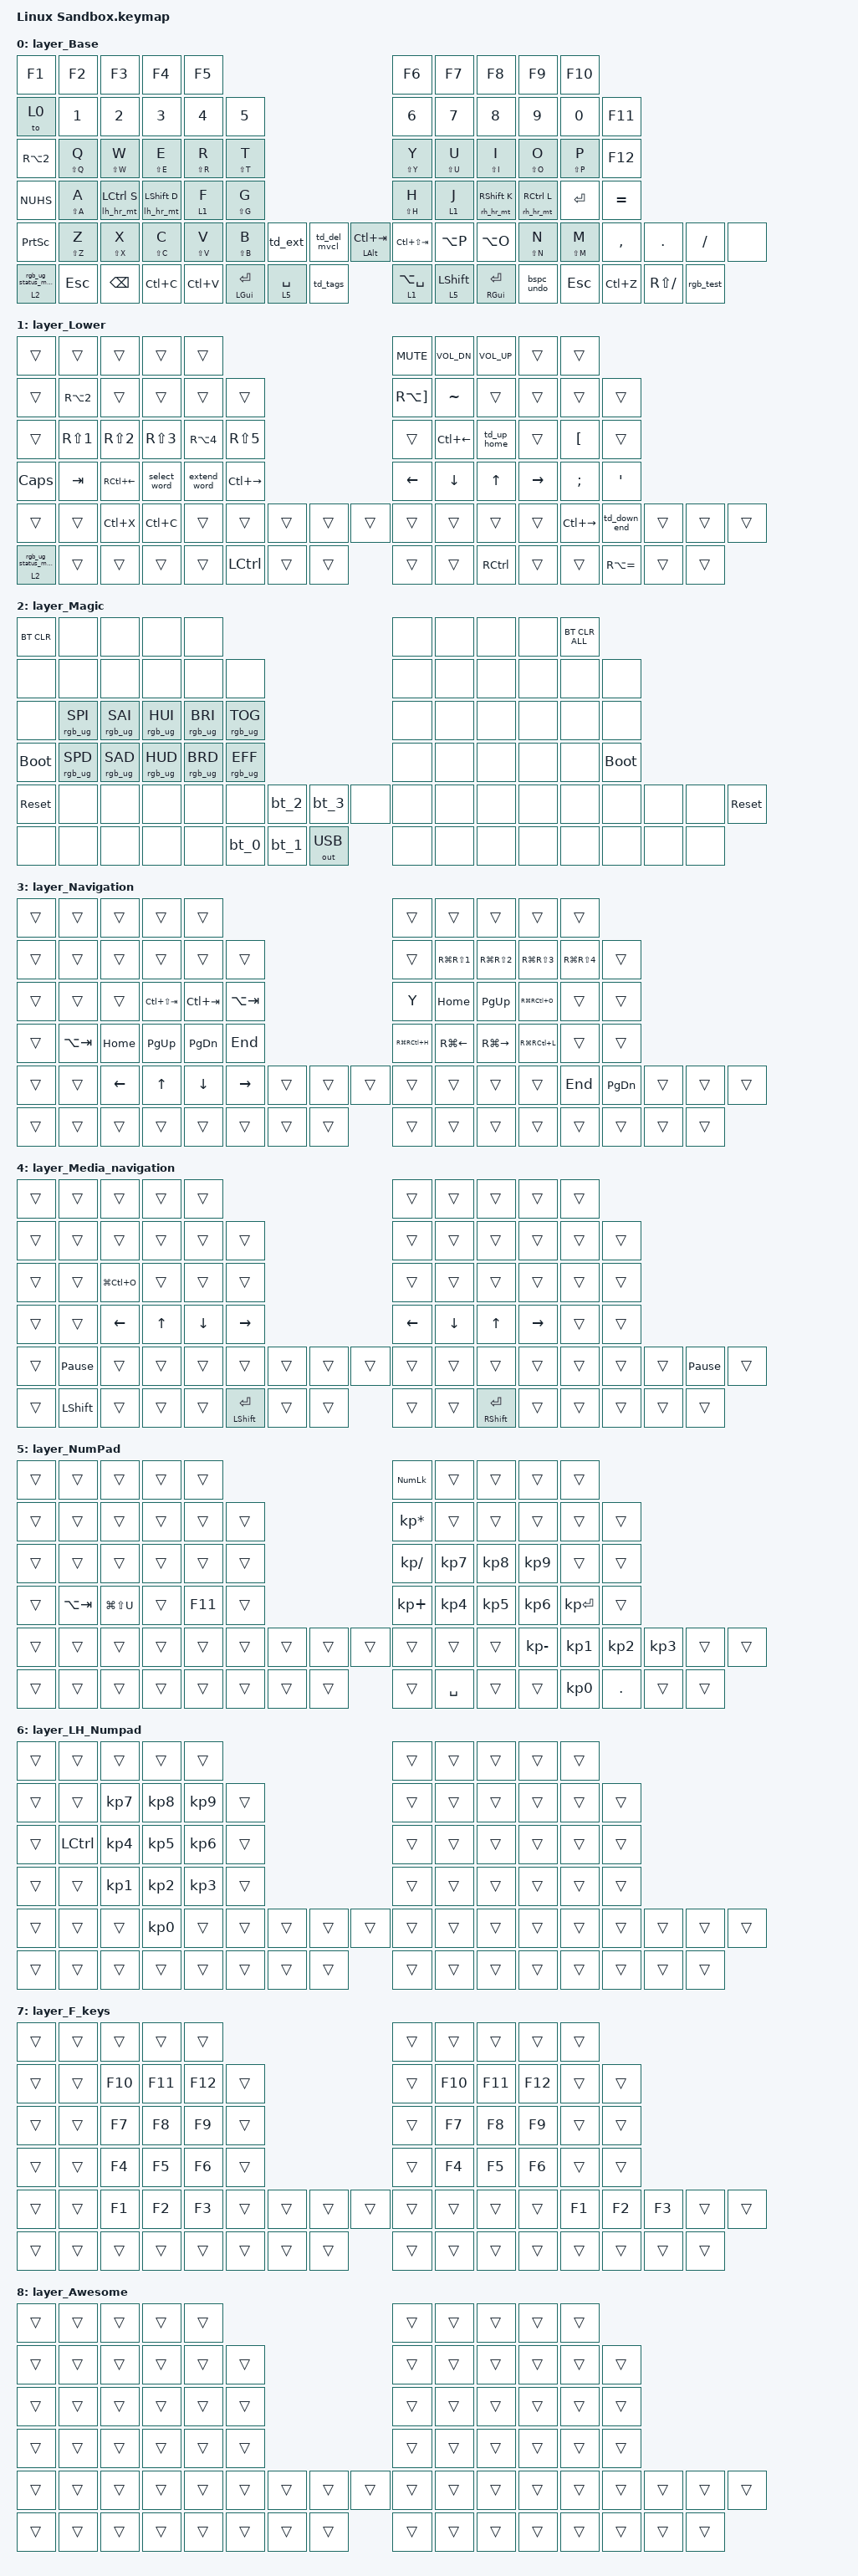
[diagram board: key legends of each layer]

/*
 * Copyright (c) 2020 The ZMK Contributors
 * Copyright (c) 2022 Innaworks Development Limited, trading as MoErgo
 *
 * SPDX-License-Identifier: MIT
 */


/* THIS FILE WAS GENERATED BY GLOVE80 LAYOUT EDITOR
 *
 * This file was generated automatically. You may or may not want to
 * edit it directly.
 */

#include <behaviors.dtsi>
/* Include all behaviour includes needed by system behaviors/macros */
#include <dt-bindings/zmk/outputs.h>

/* Include behaviour includes needed by key binds - automatically generated */
#include <dt-bindings/zmk/keys.h>
#include <dt-bindings/zmk/bt.h>
#include <dt-bindings/zmk/rgb.h>
#include <dt-bindings/zmk/outputs.h>

/ {
    /* Glove80 system behavior & macros */
    behaviors {
        // For the "layer" key, it'd nice to be able to use it as either a shift or a toggle.
        // Configure it as a tap dance, so the first tap (or hold) is a &mo and the second tap is a &to
        lower: tap_dance_0 {
            compatible = "zmk,behavior-tap-dance";
            label = "LAYER_TAP_DANCE";
            #binding-cells = <0>;
            tapping-term-ms = <200>;
            bindings = <&mo 1>, <&to 1>;
        };
    };
};

/ {
    macros {
        rgb_ug_status_macro: rgb_ug_status_macro_0 {
            label = "RGB_UG_STATUS";
            compatible = "zmk,behavior-macro";
            #binding-cells = <0>;
            bindings
                = <&rgb_ug RGB_STATUS>;
        };

        bt_0: bt_profile_macro_0 {
            label = "BT_0";
            compatible = "zmk,behavior-macro";
            #binding-cells = <0>;
            bindings
                = <&out OUT_BLE>,
                  <&bt BT_SEL 0>;
        };

        bt_1: bt_profile_macro_1 {
            label = "BT_1";
            compatible = "zmk,behavior-macro";
            #binding-cells = <0>;
            bindings
                = <&out OUT_BLE>,
                  <&bt BT_SEL 1>;
        };

        bt_2: bt_profile_macro_2 {
            label = "BT_2";
            compatible = "zmk,behavior-macro";
            #binding-cells = <0>;
            bindings
                = <&out OUT_BLE>,
                  <&bt BT_SEL 2>;
        };

        bt_3: bt_profile_macro_3 {
            label = "BT_3";
            compatible = "zmk,behavior-macro";
            #binding-cells = <0>;
            bindings
                = <&out OUT_BLE>,
                  <&bt BT_SEL 3>;
        };
    };
};

/ {
    magic: magic_hold_tap {
        compatible = "zmk,behavior-hold-tap";
        label = "MAGIC_HOLD_TAP";
        #binding-cells = <2>;
        flavor = "tap-preferred";
        tapping-term-ms = <200>;
        bindings = <&mo>, <&rgb_ug_status_macro>;
    };
};

    /* Custom Defined Behaviors */
/ {
        // WIP

/************************************************************/
	
                        /* Timers */
			
/************************************************************/
	
#define QUICK_TAP_MS 200
#define TAPPING_TERM_MS 280
#define TAPPING_TERM_MS_SLOWER 250

/* How long Sticky Keys stay pressed */
#define STICKY_KEY_RELEASE_AFTER_MS 600

/* How long to hold for Autoshift */
#define AUTOSHIFT_TAPPING_TERM_MS 200

/* How long to hold to activate home row mods for same side or mouse usage */
#define HOME_ROW_MODS_TAPPING_TERM_MS 300

/* Cool down after typing before home row mods can be used */
#define HOME_ROW_MODS_QUICK_TAP_MS 150

/* How long thumb keys can be held before rolls send the higher layer key */
#define THUMBS_TAPPING_TERM_MS 200

/* How quickly to double tap thumb keys to hold down the key */
#define THUMBS_QUICK_TAP_MS 250

/* How long until the selection continuation mode times out */
#define CONTINUE_SELECTION_TIMEOUT 60000

/* How quickly combo keys must be pressed together */
#define COMBO_TIMEOUT_MS 50

/*****************************************************************************/

                                /* Key Positions */

/*****************************************************************************/

/* Use these key positions for Hold Tap hold-trigger-key-positions and Combos

          .----.----.----.                                                  .----.----.----.
.----.----|  2 |  3 |  4 |                                                  |  5 |  6 |  7 |----.----.
|  0 |  1 |----+----+----+----.                                        .----+----+----+----|  8 |  9 |
|----|----| 12 | 13 | 14 | 15 |                                        | 16 | 17 | 18 | 19 |----|----|
| 10 | 11 |----+----+----+----|                                        |----+----+----+----| 20 | 21 |
|----|----| 24 | 25 | 26 | 27 |                                        | 28 | 29 | 30 | 31 |----|----|
| 22 | 23 |----+----+----+----|                                        |----+----+----+----| 32 | 33 |
|----|----| 36 | 37 | 38 | 39 |                                        | 40 | 41 | 42 | 43 |----|----|
| 34 | 35 |----+----+----+----|                                        |----+----+----+----| 44 | 45 |
|----|----| 48 | 49 | 50 | 51 |                                        | 58 | 59 | 60 | 61 |----|----|
| 46 | 47 |----+----+----+----'                                        '----+----+----+----| 62 | 63 |
|----|----| 66 | 67 | 68 |       .----.                        .----.       | 75 | 76 | 77 |----|----|
| 64 | 65 |----'----'----'  .----| 52 |----.              .----| 57 |----.  '----'----'----| 78 | 79 |
'----'----'                 | 69 |----| 53 |----.    .----| 56 |----| 74 |                 '----'----'
                            '----| 70 |----| 54 |    | 55 |----| 73 |----'
                                 '----| 71 |----'    '----| 72 |----'
                                      '----'              '----'
*/

/************************************************************/
                        /* Combos */
/************************************************************/
	
/* Helper for defining combos using the timeout configured above */
#define ZMK_COMBO(NAME, KEY_POSITIONS, BINDINGS) \
    NAME { \
        timeout-ms = <COMBO_TIMEOUT_MS>; \
        key-positions = <KEY_POSITIONS>; \
        bindings = <BINDINGS>; \
    };

combos {
    compatible = "zmk,combos";

    /* Left Hand */
    ZMK_COMBO(combo_quotes_lh,       24 25, &kp LS(N2))          /* Top  row left hand, 0-gap */
    ZMK_COMBO(combo_asterisk_lh,     25 26, &kp PIPE)            /* Top  row left hand, 0-gap */
    ZMK_COMBO(combo_exclamation_lh,  24 26, &kp LS(N1))          /* Top  row left hand, 1-gap */

    ZMK_COMBO(combo_question_lh,     37 38, &kp LS(MINUS))       /* Home row left hand, 0-gap */
    ZMK_COMBO(combo_grave_lh,        36 37, &kp LS(EQUAL))       /* Home row left hand, 0-gap */
    ZMK_COMBO(combo_tab_lh,          36 38, &kp TAB)             /* Home row left hand, 1-gap */

    /* Right Hand */
    ZMK_COMBO(combo_lbracket_rh,     17 18, &kp RA(N8))          /* Num  row right hand, 0-gap */
    ZMK_COMBO(combo_rbracket_rh,     18 19, &kp RA(N9))          /* Num  row right hand, 0-gap */

    ZMK_COMBO(combo_lparantheses_rh, 29 30, &kp LS(N8))          /* Top  row right hand, 0-gap */
    ZMK_COMBO(combo_rparantheses_rh, 30 31, &kp LPAR)            /* Top  row right hand, 0-gap */
    ZMK_COMBO(combo_and_rh,          28 29, &kp RS(N6))          /* Top  row right hand, 1-gap */

    ZMK_COMBO(combo_lcurly_rh,       41 42, &kp RA(N7))          /* Home row right hand, 0-gap */
    ZMK_COMBO(combo_rcurly_rh,       42 43, &kp RA(N0))          /* Home row right hand, 0-gap */
    ZMK_COMBO(combo_tab_rh,          41 43, &kp TAB)             /* Home row right hand, 1-gap */

    ZMK_COMBO(combo_greater_rh,      75 76, &kp NUBS)            /* Bsmt row right hand, 0-gap */
    ZMK_COMBO(combo_less_rh,         76 77, &kp RS(NUBS))        /* Bsmt row right hand, 0-gap */

    /* One gappers */
    ZMK_COMBO(combo_equals_rh,       29 31, &kp RS(N0))

    /* Both hands */
    ZMK_COMBO(combo_caps_word,       37 42, &b_caps_word)        /* Home row both hands, 1 finger*/

};


/************************************************************/
                      /* Behaviors */
/************************************************************/

#define STRINGIFY(x) #x
/* Create a ZMK behavior without having to specify the name three times */
#define ZMK_BEHAVIOR(NAME, ...)             \
    behaviors {                             \
        NAME: NAME {                        \
            label = STRINGIFY(ZB_ ## NAME); \
            __VA_ARGS__                     \
        };                                  \
    };  

/*****************************************************************************/
                                /* Home Row Mods */
/*****************************************************************************/

/* "Timerless" home row mod behavior using timers configured above */
#define HOME_ROW_MOD(NAME, KEY_POSITIONS)                                                                 \
    ZMK_BEHAVIOR(NAME, \
        compatible                 = "zmk,behavior-hold-tap";                                             \
        #binding-cells             = <2>;                                                                 \
        flavor                     = "balanced";                        /* Fast hold behavior *           \
        tapping-term-ms            = <HOME_ROW_MODS_TAPPING_TERM_MS>;   /* Mouse usage */                 \
        quick-tap-ms               = <HOME_ROW_MODS_QUICK_TAP_MS>;      /* Typing cool down *             \
        global-quick-tap;                                               /* Lockout when typing quickly */ \
        hold-trigger-key-positions = <KEY_POSITIONS>;                   /* Use opposite hand */           \
        hold-trigger-on-release;                                        /* Enable chording mods */        \
        bindings                   = <&kp>, <&kp>;                                                        \
    )

/* Left hand key positions for use with right hand mods */
#define LEFT_HAND_KEYS \
    0  1  2  3  4      \
    10 11 12 13 14 15  \
    22 23 24 25 26 27  \
    34 35 36 37 38 39  \
    46 47 48 49 50 51  \
    64 65 66 67 68

/* Right hand key positions for use with left hand mods */
#define RIGHT_HAND_KEYS \
        5  6  7  8  9   \
    16 17 18 19 20 21   \
    28 29 30 31 32 33   \
    40 41 42 43 44 45   \
    58 59 60 61 62 63   \
       75 76 77 78 79

/* Thumb key positions for use with mods on both hands */
#define THUMB_KEYS       \
    52 53 54    55 56 57 \
    69 70 71    72 73 74

HOME_ROW_MOD(lh_hr_mt, RIGHT_HAND_KEYS THUMB_KEYS)
HOME_ROW_MOD(rh_hr_mt, LEFT_HAND_KEYS THUMB_KEYS)



behaviors {

                      /* Sticky keys */

    skq: sticky_key_quick_release {
        compatible = "zmk,behavior-sticky-key";
        label = "STICKY_KEY_QUICK_RELEASE";
        #binding-cells = <1>;
        bindings = <&kp>;
        release-after-ms = <1000>;
        quick-release;
        ignore-modifiers;
      };

                      /* Hold Taps */

    as: auto_shift {
        compatible =      "zmk,behavior-hold-tap";
        label =           "AUTO_SHIFT";
        #binding-cells =  <2>;
        tapping_term_ms = <280>;
        quick_tap_ms =    <0>;
        flavor =          "tap-preferred";
        bindings =        <&kp>, <&kp>;
    };

    gqt: global-quick-tap {
        compatible      = "zmk,behavior-hold-tap";
        label           = "GLOBAL_QUICK_TAP";
        #binding-cells  = <2>;
        flavor          = "balanced";
        tapping-term-ms = <TAPPING_TERM_MS>;
        quick-tap-ms    = <150>;
        global-quick-tap;
        bindings =        <&kp>, <&kp>;
    };

    gqt_th: global-quick-tap_th {
        compatible      = "zmk,behavior-hold-tap";
        label           = "GLOBAL_QUICK_TAP_TH";
        #binding-cells  = <2>;
        flavor          = "hold-preferred";
        tapping-term-ms = <TAPPING_TERM_MS>;
        quick-tap-ms    = <200>;
        bindings        = <&kp>, <&kp>;
    };

    ht_shft_num: ht_shft_num {
	compatible      = "zmk,behavior-hold-tap";
        label           = "HOLD_TAP_SHIFT_NUM";
        #binding-cells  = <2>;
        flavor          = "hold-preferred";
        tapping-term-ms = <TAPPING_TERM_MS>;
        quick-tap-ms    = <QUICK_TAP_MS>;
        bindings        = <&mo>, <&skq>;
    };

    gqt_mo: global-quick-tap-momentary-layer {
        compatible =      "zmk,behavior-hold-tap";
        label =           "GLOBAL_QUICK_TAP_MOMENTARY_LAYER";
        #binding-cells =  <2>;
        flavor =          "balanced";
        tapping-term-ms = <TAPPING_TERM_MS>;
        quick-tap-ms =    <125>;
        global-quick-tap;
        bindings =        <&mo>, <&kp>;
    };

                      /* CAPS_WORD */
    b_caps_word: b_caps_word {
        compatible =      "zmk,behavior-caps-word";
        label =           "B_CAPS_WORD";
        #binding-cells =  <0>;
        continue-list =   <UNDERSCORE MINUS BACKSPACE DELETE FSLH>;
        mods =            <(MOD_LSFT | MOD_RSFT)>;
    };

                      /* MOD MORPH */
    bspc_undo: backspace_undo {
        compatible =      "zmk,behavior-mod-morph";
        label =           "BACKSPACE_UNDO";
        #binding-cells =  <0>;
        bindings =        <&kp BACKSPACE>, <&kp LC(Z)>;
        mods =            <(MOD_RCTL)>;
    };

                      /* TAP DANCE */

    td_del_mvcl: tap_delete_mvcl {
        compatible        = "zmk,behavior-tap-dance";
	      label             = "TAP_DELETE_MOVE_CLIENT";
        #binding-cells    = <0>;
        tapping-term-ms   = <TAPPING_TERM_MS>;
        bindings          = <&kp DELETE>, <&kp LG(R)>;
    };

    td_up_home: td_up_home {
        compatible =      "zmk,behavior-tap-dance";
        label =           "TAP_DANCE_PAGE_UP_HOME"; 
        #binding-cells =  <0>;
        tapping-term-ms = <TAPPING_TERM_MS>;
        bindings =        <&kp UP>, <&kp HOME>;
    };

    td_down_end: td_down_end {
        compatible =      "zmk,behavior-tap-dance";
        label =           "TAP_DANCE_PAGE_DOWN_END"; 
        #binding-cells =  <0>;
        tapping-term-ms = <TAPPING_TERM_MS>;
        bindings =        <&kp DOWN>, <&kp END>;
    };

    td_sw: tap_sw {
        compatible =      "zmk,behavior-tap-dance";
        label =           "TAP_DANCE_SELECT_WORD_W"; 
        #binding-cells =  <0>;
        tapping-term-ms = <TAPPING_TERM_MS>;
        bindings =        <&kp W>, <&select_word>, <&extend_word>;
    };

    td_sl: tap_sl {
        compatible =      "zmk,behavior-tap-dance";
        label =           "TAP_DANCE_SELECT_LINE_E";
        #binding-cells =  <0>;
        tapping-term-ms = <TAPPING_TERM_MS>;
        bindings =        <&kp E>, <&select_line>, <&extend_line>;
    };       

    td_cp: tap_cp {
        compatible =      "zmk,behavior-tap-dance";
        label =           "TAP_DANCE_COPY";
        #binding-cells =  <0>;
        tapping-term-ms = <QUICK_TAP_MS>;
        bindings =        <&kp C>, <&kp LC(C)>;
    };

    td_paste: tap_paste {
        compatible =      "zmk,behavior-tap-dance";
        label =           "TAP_DANCE_PASTE";
        #binding-cells =  <0>;
        tapping-term-ms = <QUICK_TAP_MS>;
        bindings =        <&kp V>, <&kp LC(V)>;
		};

    td_cut: tap_cut {
        compatible =      "zmk,behavior-tap-dance";
        label =           "TAP_DANCE_CUT";
        #binding-cells =  <0>;
        tapping-term-ms = <QUICK_TAP_MS>;
        bindings =        <&kp X>, <&kp LC(X)>;
    };

    td_ext: tap_ext {
        compatible =       "zmk,behavior-tap-dance";
        label =            "TAP_DANCE_EXTENSIONS";
        #binding-cells =   <0>;
        tapping-term-ms =  <300>;
        bindings =         <&kp LC(F8)>, <&kp LC(F9)>, <&kp LC(F10)>;
    };

    td_tags: tap_tags {
        compatible =      "zmk,behavior-tap-dance";
        label =           "TAP_DANCE_TAGS";
        #binding-cells =  <0>;
        tapping-term-ms = <300>;
        bindings =        <&gqt_th LALT LG(KP_N1)>, <&kp LG(KP_N2)>, <&kp LG(KP_N3)>, <&kp LG(KP_N4)>;
    };

    td_obs: tap_obs {
        compatible =       "zmk,behavior-tap-dance";
        label =            "TAP_DANCE_OBSIDIAN";
        #binding-cells =   <0>;
        tapping-term-ms =  <300>;
        bindings =         <&kp LC(LS(TAB))>, <&kp LA(P)>, <&kp LA(O)>;
    };

};

/************************************************************/
	
                        /* Macros */
			
/************************************************************/ 


macros {

    rgb_test: rgb_test {
        label = "RGB_TEST";
        compatible = "zmk,behavior-macro";
        #binding-cells = <0>;
        wait-ms = <0>;
        tap-ms = <0>;
        bindings
            = <&macro_press &mo 1>
            , <&macro_tap &rgb_ug RGB_COLOR_HSB(128,100,100)>
            , <&macro_pause_for_release>
            , <&macro_release &mo 1>
            , <&macro_tap &rgb_ug RGB_COLOR_HSB(300,100,50)>;
    };

    select_word: select_word {
        compatible = "zmk,behavior-macro";
        label = "select_word";
        #binding-cells = <0>;
        tap-ms = <0>;
        wait-ms = <0>;
        bindings
            = <&macro_tap &kp LC(RIGHT)>
            , <&macro_wait_time 1> // let cursor move to the next word!
            , <&macro_tap &kp LC(LEFT) &kp LC(LS(RIGHT))>;
    };

    extend_word: extend_word {
        compatible = "zmk,behavior-macro";
        label = "extend_word";
        #binding-cells = <0>;
        tap-ms = <0>;
        wait-ms = <0>;
        bindings
        = <&macro_tap &kp LC(LS(RIGHT))>
        ;
    };

    select_line: select_line {
        compatible = "zmk,behavior-macro";
        label = "select_line";
        #binding-cells = <0>;
        tap-ms = <0>;
        wait-ms = <0>;
        bindings
        = <&macro_tap &kp HOME &kp LS(END)>
        ;
    };

    extend_line: extend_line {
        compatible = "zmk,behavior-macro";
        label = "extend_line";
        #binding-cells = <0>;
        tap-ms = <0>;
        wait-ms = <0>;
        bindings
        = <&macro_tap &kp LS(DOWN) &kp LS(END)>
        ;
    };
};

};

    /* Automatically generated keymap */
/ {
    keymap {
        compatible = "zmk,keymap";


        layer_Base {
            bindings = <
 &kp F1     &kp F2             &kp F3              &kp F4              &kp F5                                                                                    &kp F6           &kp F7             &kp F8        &kp F9    &kp F10
 &to 0      &kp N1             &kp N2              &kp N3              &kp N4       &kp N5                                                           &kp N6      &kp N7  &kp N8    &kp N9        &kp N0    &kp F11
 &kp RA(N2) &as LS(Q) Q        &as LS(W) W         &as LS(E) E         &as LS(R) R  &as LS(T) T                                                      &as LS(Y) Y  &as LS(U) U         &as LS(I) I        &as LS(O) O   &as LS(P) P   &kp F12
 &kp NUHS   &as LS(A) A        &lh_hr_mt LCTRL S   &lh_hr_mt LSHIFT D  &gqt_mo 1 F  &as LS(G) G                                                          &as LS(H) H  &gqt_mo 1 J  &rh_hr_mt RSHIFT K  &rh_hr_mt RCTRL L       &kp RET  &kp EQUAL
 &kp PSCRN  &as LS(Z) Z        &as LS(X) X         &as LS(C) C         &as LS(V) V  &as LS(B) B     &td_ext         &td_del_mvcl   &gqt LALT LC(TAB)      &kp LC(LS(TAB))              &kp LA(P)        &kp LA(O)  &as LS(N) N  &as LS(M) M           &kp COMMA            &kp DOT      &kp FSLH      &none
 &magic 2 0 &kp ESC           &kp BSPC           &kp LC(C)              &kp LC(V)   &gqt LGUI ENTER &gqt_mo 5 SPACE &td_tags       &gqt_mo 1 LA(SPACE)    &ht_shft_num 5 LSHIFT  &gqt RGUI ENTER                &bspc_undo            &kp ESC          &kp LC(Z)  &kp RS(FSLH)  &rgb_test
     >;
 };

        layer_Lower {
            bindings = <
     &trans      &trans        &trans        &trans        &trans                                                                                        &kp C_MUTE  &kp C_VOL_DN   &kp C_VOL_UP    &trans   &trans
     &trans  &kp RA(N2)        &trans        &trans        &trans         &trans                                                        &kp RA(RBKT)      &kp TILDE        &trans         &trans    &trans   &trans
     &trans  &kp RS(N1)    &kp RS(N2)    &kp RS(N3)    &kp RA(N4)     &kp RS(N5)                                                              &trans   &kp LC(LEFT)   &td_up_home         &trans  &kp LBKT   &trans
   &kp CAPS     &kp TAB  &kp RC(LEFT)  &select_word  &extend_word  &kp LC(RIGHT)                                                            &kp LEFT       &kp DOWN        &kp UP      &kp RIGHT  &kp SEMI  &kp SQT
     &trans      &trans     &kp LC(X)     &kp LC(C)        &trans         &trans     &trans  &trans  &trans  &trans  &trans     &trans        &trans  &kp LC(RIGHT)  &td_down_end         &trans    &trans   &trans
 &magic 2 0      &trans        &trans        &trans        &trans                 &kp LCTRL  &trans  &trans  &trans  &trans  &kp RCTRL                       &trans        &trans  &kp RA(EQUAL)    &trans   &trans
            >;
        };

        layer_Magic {
            bindings = <
  &bt BT_CLR            &none            &none            &none            &none                                                                                  &none   &none   &none   &none  &bt BT_CLR_ALL
       &none            &none            &none            &none            &none            &none                                                         &none   &none   &none   &none   &none           &none
       &none  &rgb_ug RGB_SPI  &rgb_ug RGB_SAI  &rgb_ug RGB_HUI  &rgb_ug RGB_BRI  &rgb_ug RGB_TOG                                                         &none   &none   &none   &none   &none           &none
 &bootloader  &rgb_ug RGB_SPD  &rgb_ug RGB_SAD  &rgb_ug RGB_HUD  &rgb_ug RGB_BRD  &rgb_ug RGB_EFF                                                         &none   &none   &none   &none   &none     &bootloader
  &sys_reset            &none            &none            &none            &none            &none   &bt_2   &bt_3         &none   &none   &none   &none   &none   &none   &none   &none   &none      &sys_reset
       &none            &none            &none            &none            &none                    &bt_0   &bt_1  &out OUT_USB   &none   &none   &none           &none   &none   &none   &none           &none
            >;
        };

        layer_Navigation {
            bindings = <
 &trans       &trans    &trans           &trans       &trans                                                                                      &trans          &trans          &trans          &trans  &trans
 &trans       &trans    &trans           &trans       &trans       &trans                                                         &trans  &kp RG(RS(N1))  &kp RG(RS(N2))  &kp RG(RS(N3))  &kp RG(RS(N4))  &trans
 &trans       &trans    &trans  &kp LC(LS(TAB))  &kp LC(TAB)  &kp LA(TAB)                                                          &kp Y        &kp HOME       &kp PG_UP   &kp RG(RC(O))          &trans  &trans
 &trans  &kp LA(TAB)  &kp HOME        &kp PG_UP    &kp PG_DN      &kp END                                                  &kp RG(RC(H))    &kp RG(LEFT)   &kp RG(RIGHT)   &kp RG(RC(L))          &trans  &trans
 &trans       &trans  &kp LEFT           &kp UP     &kp DOWN    &kp RIGHT  &trans  &trans  &trans  &trans  &trans  &trans         &trans         &kp END       &kp PG_DN          &trans          &trans  &trans
 &trans       &trans    &trans           &trans       &trans               &trans  &trans  &trans  &trans  &trans  &trans                         &trans          &trans          &trans          &trans  &trans
            >;
        };

        layer_Media_navigation {
            bindings = <
 &trans           &trans         &trans  &trans    &trans                                                                                       &trans  &trans     &trans           &trans  &trans
 &trans           &trans         &trans  &trans    &trans     &trans                                                                  &trans    &trans  &trans     &trans           &trans  &trans
 &trans           &trans  &kp LG(LC(O))  &trans    &trans     &trans                                                                  &trans    &trans  &trans     &trans           &trans  &trans
 &trans           &trans       &kp LEFT  &kp UP  &kp DOWN  &kp RIGHT                                                                &kp LEFT  &kp DOWN  &kp UP  &kp RIGHT           &trans  &trans
 &trans  &kp PAUSE_BREAK         &trans  &trans    &trans     &trans         &trans  &trans  &trans  &trans  &trans         &trans    &trans    &trans  &trans     &trans  &kp PAUSE_BREAK  &trans
 &trans        &kp LSHFT         &trans  &trans    &trans             &mt LSHFT RET  &trans  &trans  &trans  &trans  &mt RSHFT RET              &trans  &trans     &trans           &trans  &trans
            >;
        };

        layer_NumPad {
            bindings = <
 &trans       &trans         &trans  &trans   &trans                                                                              &kp KP_NUM     &trans     &trans        &trans  &trans
 &trans       &trans         &trans  &trans   &trans  &trans                                                     &kp KP_MULTIPLY      &trans     &trans     &trans        &trans  &trans
 &trans       &trans         &trans  &trans   &trans  &trans                                                        &kp KP_SLASH   &kp KP_N7  &kp KP_N8  &kp KP_N9        &trans  &trans
 &trans  &kp LA(TAB)  &kp LG(LS(U))  &trans  &kp F11  &trans                                                         &kp KP_PLUS   &kp KP_N4  &kp KP_N5  &kp KP_N6  &kp KP_ENTER  &trans
 &trans       &trans         &trans  &trans   &trans  &trans  &trans  &trans  &trans  &trans     &trans  &trans     &kp KP_MINUS   &kp KP_N1  &kp KP_N2  &kp KP_N3        &trans  &trans
 &trans       &trans         &trans  &trans   &trans          &trans  &trans  &trans  &trans  &kp SPACE  &trans                       &trans  &kp KP_N0    &kp DOT        &trans  &trans
            >;
        };

        layer_LH_Numpad {
            bindings = <
 &trans     &trans     &trans     &trans     &trans                                                                  &trans  &trans  &trans  &trans  &trans
 &trans     &trans  &kp KP_N7  &kp KP_N8  &kp KP_N9  &trans                                                  &trans  &trans  &trans  &trans  &trans  &trans
 &trans  &kp LCTRL  &kp KP_N4  &kp KP_N5  &kp KP_N6  &trans                                                  &trans  &trans  &trans  &trans  &trans  &trans
 &trans     &trans  &kp KP_N1  &kp KP_N2  &kp KP_N3  &trans                                                  &trans  &trans  &trans  &trans  &trans  &trans
 &trans     &trans     &trans  &kp KP_N0     &trans  &trans  &trans  &trans  &trans  &trans  &trans  &trans  &trans  &trans  &trans  &trans  &trans  &trans
 &trans     &trans     &trans     &trans     &trans          &trans  &trans  &trans  &trans  &trans  &trans          &trans  &trans  &trans  &trans  &trans
            >;
        };

        layer_F_keys {
            bindings = <
 &trans  &trans   &trans   &trans   &trans                                                                   &trans   &trans   &trans  &trans  &trans
 &trans  &trans  &kp F10  &kp F11  &kp F12  &trans                                                  &trans  &kp F10  &kp F11  &kp F12  &trans  &trans
 &trans  &trans   &kp F7   &kp F8   &kp F9  &trans                                                  &trans   &kp F7   &kp F8   &kp F9  &trans  &trans
 &trans  &trans   &kp F4   &kp F5   &kp F6  &trans                                                  &trans   &kp F4   &kp F5   &kp F6  &trans  &trans
 &trans  &trans   &kp F1   &kp F2   &kp F3  &trans  &trans  &trans  &trans  &trans  &trans  &trans  &trans   &kp F1   &kp F2   &kp F3  &trans  &trans
 &trans  &trans   &trans   &trans   &trans          &trans  &trans  &trans  &trans  &trans  &trans           &trans   &trans   &trans  &trans  &trans
            >;
        };

        layer_Awesome {
            bindings = <
 &trans  &trans  &trans  &trans  &trans                                                                  &trans  &trans  &trans  &trans  &trans
 &trans  &trans  &trans  &trans  &trans  &trans                                                  &trans  &trans  &trans  &trans  &trans  &trans
 &trans  &trans  &trans  &trans  &trans  &trans                                                  &trans  &trans  &trans  &trans  &trans  &trans
 &trans  &trans  &trans  &trans  &trans  &trans                                                  &trans  &trans  &trans  &trans  &trans  &trans
 &trans  &trans  &trans  &trans  &trans  &trans  &trans  &trans  &trans  &trans  &trans  &trans  &trans  &trans  &trans  &trans  &trans  &trans
 &trans  &trans  &trans  &trans  &trans          &trans  &trans  &trans  &trans  &trans  &trans          &trans  &trans  &trans  &trans  &trans
            >;
        };

    };
};
